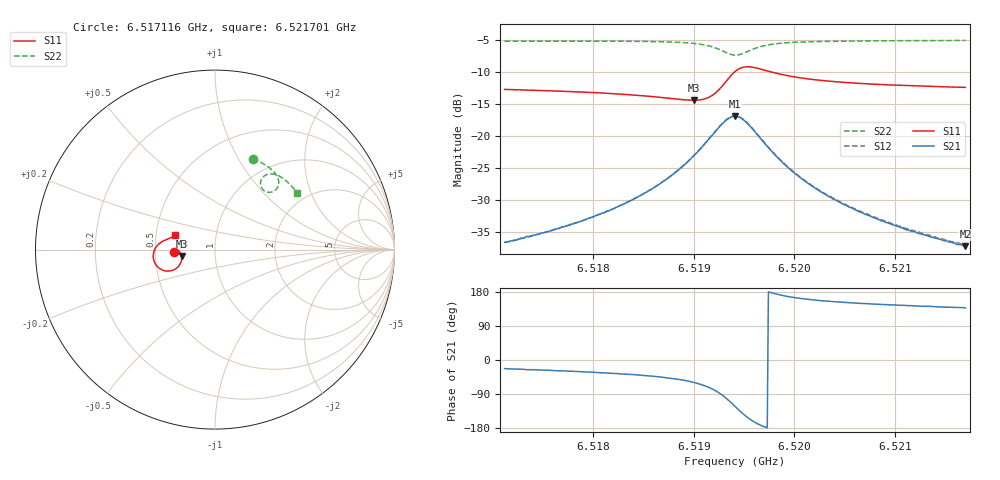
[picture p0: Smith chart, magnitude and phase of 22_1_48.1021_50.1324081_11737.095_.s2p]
#  HZ  S  RI  R  50.00
! Rohde & Schwarz Vector Network Analyzer
! Rohde-Schwarz,ZNB20-2Port,1311601062101988,3.16
! Created: UTC 12/23/2023, 3:36:45 AM
! freq[Hz]  re:S11  im:S11  re:S21  im:S21  re:S12  im:S12  re:S22  im:S22
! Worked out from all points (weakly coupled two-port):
!   401 points, 6.517116 GHz to 6.521701 GHz, reference 50 ohm
!   highest |S21| = -16.96 dB at 6.519408 GHz (marker M1); lowest = -37.3 dB at 6.521701 GHz (marker M2)
!   lowest |S11| = -14.4 dB at 6.518996 GHz (marker M3), VSWR 1.47, Z = 34.2 - j2.49 ohm
!   |S11| at or under -10 dB: start of sweep to 6.519406 GHz; 6.519764 GHz to end of sweep
!   |S22| runs from -7.4 to -5.1 dB; largest |S21 - S12| = 0.0043
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6.5171156e9  -0.2301 -0.0147  0.0136 -0.00567  0.0137 -0.00513  0.2122 0.5061
6.5175283e9  -0.2251 -0.00888  0.0158 -0.00803  0.016 -0.0075  0.2427 0.4925
6.5178837e9  -0.2198 -0.00516  0.0185 -0.0111  0.0189 -0.0105  0.2688 0.4785
6.5182849e9  -0.2114 -0.00347  0.0231 -0.0172  0.0238 -0.0165  0.2991 0.4591
6.5186518e9  -0.2 -0.00897  0.0298 -0.0291  0.0307 -0.0285  0.3275 0.4342
6.5188237e9  -0.1931 -0.0172  0.0335 -0.0402  0.0349 -0.0393  0.341 0.4174
6.5189957e9  -0.1864 -0.035  0.0357 -0.0593  0.0378 -0.0588  0.3524 0.393
6.5190989e9  -0.1859 -0.0542  0.0329 -0.0781  0.0355 -0.0777  0.355 0.3722
6.5191906e9  -0.1936 -0.0792  0.0222 -0.1007  0.0254 -0.1008  0.3493 0.3487
6.5193167e9  -0.2379 -0.116  -0.0231 -0.1296  -0.0194 -0.1312  0.3147 0.3202
6.5193625e9  -0.2665 -0.1197  -0.0492 -0.1301  -0.046 -0.1325  0.2937 0.3196
6.5194084e9  -0.297 -0.1118  -0.0759 -0.1198  -0.073 -0.1229  0.2735 0.3283
6.5194542e9  -0.3228 -0.0928  -0.0965 -0.1003  -0.0943 -0.1039  0.2589 0.3451
6.5195116e9  -0.3407 -0.0604  -0.109 -0.0702  -0.1077 -0.0737  0.2532 0.37
6.5196033e9  -0.3411 -0.0135  -0.1041 -0.03  -0.104 -0.0331  0.2653 0.4015
6.5197065e9  -0.3248 0.0186  -0.0865 -0.00481  -0.0871 -0.00728  0.2885 0.4179
6.5199357e9  -0.2909 0.0464  -0.0552 0.0123  -0.0561 0.0108  0.3305 0.4201
6.5201765e9  -0.2702 0.0557  -0.0377 0.0145  -0.0384 0.0136  0.3592 0.409
6.5205204e9  -0.2532 0.0624  -0.025 0.0135  -0.0256 0.0129  0.3884 0.3895
6.5209446e9  -0.2403 0.0684  -0.0171 0.0117  -0.0176 0.0114  0.4164 0.3642
6.5212885e9  -0.2331 0.0732  -0.0132 0.0105  -0.0137 0.0103  0.4358 0.3433
6.5217012e9  -0.2256 0.079  -0.0101 0.00926  -0.0106 0.00917  0.4566 0.3177
